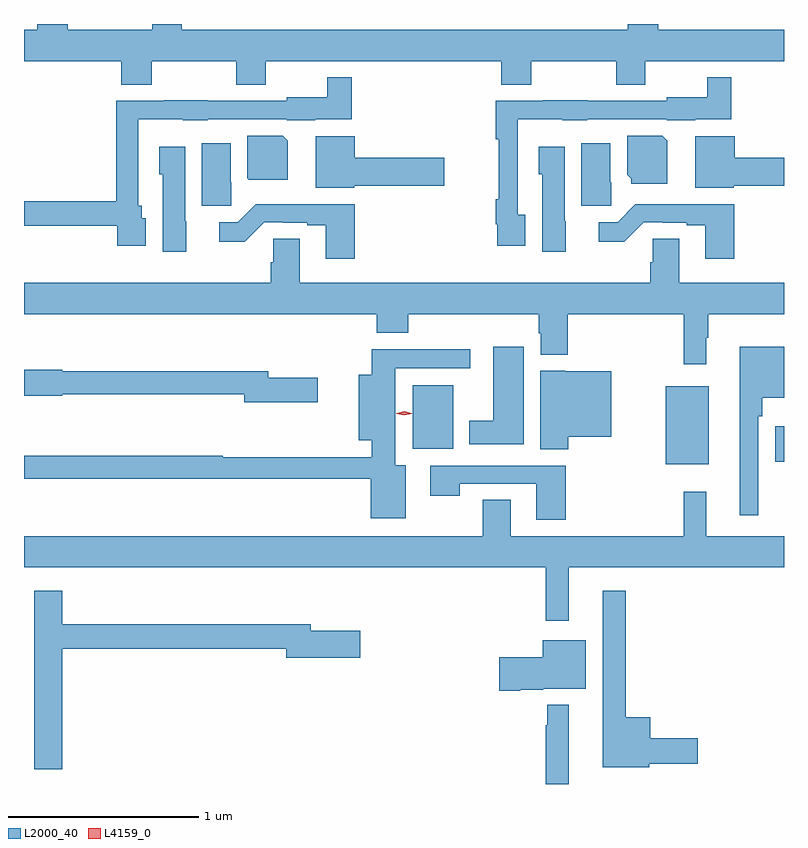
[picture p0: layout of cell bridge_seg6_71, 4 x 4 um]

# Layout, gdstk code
import gdstk
lib = gdstk.Library(unit=1e-6, precision=1e-09)
def R(c, l, rs):  # rectangles x0, y0, x1, y1
    for r in rs: c.add(gdstk.rectangle(r[:2], r[2:], *l))
def P(c, l, *ps):  # polygons
    for p in ps: c.add(gdstk.Polygon(p, *l))
L2000_40 = (2000, 40)
L4159_0 = (4159, 0)

bridge_seg6_71 = lib.new_cell('bridge_seg6_71')
R(bridge_seg6_71, L2000_40, [(828.68,947.879,828.907,948.289), (829.256,947.891,829.302,948.079), (827.348,947.96,827.56,948.295)])
P(bridge_seg6_71, L2000_40, [(825.975,950),(826.42,950),(826.42,949.876),(826.575,949.876),(826.575,950),(827.813,950),(827.813,949.876),(827.973,949.876),(827.973,950),(828.418,950),(828.418,949.876),(828.573,949.876),(828.573,950),(829.302,950),(829.302,950.164),(828.639,950.164),(828.639,950.195),(828.479,950.195),(828.479,950.164),(826.131,950.164),(826.131,950.195),(825.976,950.195),(825.976,950.164),(825.531,950.164),(825.531,950.195),(825.371,950.195),(825.371,950.164),(825.302,950.164),(825.302,950),(825.815,950),(825.815,949.876),(825.975,949.876)],
  [(825.943,949.173),(825.922,949.173),(825.922,949.239),(825.903,949.239),(825.903,949.694),(826.137,949.694),(826.137,949.688),(826.269,949.688),(826.269,949.695),(826.686,949.695),(826.686,949.688),(826.836,949.688),(826.836,949.694),(827.027,949.694),(827.027,949.915),(826.899,949.915),(826.899,949.81),(826.686,949.81),(826.686,949.791),(826.269,949.791),(826.269,949.793),(826.037,949.793),(826.037,949.791),(825.787,949.791),(825.787,949.262),(825.302,949.262),(825.302,949.134),(825.794,949.134),(825.794,949.029),(825.943,949.029)],
  [(827.941,949.19),(827.901,949.19),(827.901,949.694),(828.135,949.694),(828.135,949.688),(828.267,949.688),(828.267,949.695),(828.684,949.695),(828.684,949.688),(828.834,949.688),(828.834,949.694),(829.025,949.694),(829.025,949.915),(828.897,949.915),(828.897,949.81),(828.684,949.81),(828.684,949.791),(828.267,949.791),(828.267,949.793),(828.035,949.793),(828.035,949.791),(827.785,949.791),(827.785,949.588),(827.8,949.588),(827.8,949.273),(827.785,949.273),(827.785,949.141),(827.793,949.141),(827.793,949.029),(827.941,949.029)],
  [(828.688,949.58),(828.662,949.606),(828.476,949.606),(828.476,949.402),(828.498,949.38),(828.498,949.355),(828.688,949.355)],
  [(826.69,949.58),(826.664,949.606),(826.478,949.606),(826.478,949.384),(826.486,949.376),(826.69,949.376)],
  [(827.04,949.343),(827.515,949.343),(827.515,949.49),(827.044,949.49),(827.044,949.604),(826.838,949.604),(826.838,949.334),(827.04,949.334)],
  [(829.038,949.343),(829.302,949.343),(829.302,949.49),(829.042,949.49),(829.042,949.604),(828.836,949.604),(828.836,949.334),(829.038,949.334)],
  [(828.392,949.362),(828.388,949.362),(828.388,949.567),(828.236,949.567),(828.236,949.239),(828.392,949.239)],
  [(826.394,949.362),(826.39,949.362),(826.39,949.567),(826.238,949.567),(826.238,949.239),(826.394,949.239)],
  [(826.156,949.158),(826.15,949.158),(826.15,949.549),(826.013,949.549),(826.013,949.404),(826.031,949.404),(826.031,948.996),(826.156,948.996)],
  [(828.154,949.158),(828.148,949.158),(828.148,949.549),(828.011,949.549),(828.011,949.404),(828.029,949.404),(828.029,948.996),(828.154,948.996)],
  [(827.042,949.247),(826.523,949.247),(826.428,949.152),(826.329,949.152),(826.329,949.05),(826.464,949.05),(826.566,949.152),(826.666,949.152),(826.666,949.149),(826.793,949.149),(826.793,949.137),(826.889,949.137),(826.889,948.96),(827.042,948.96)],
  [(829.04,949.246),(828.52,949.246),(828.426,949.152),(828.327,949.152),(828.327,949.05),(828.462,949.05),(828.564,949.152),(828.664,949.152),(828.664,949.149),(828.791,949.149),(828.791,949.137),(828.887,949.137),(828.887,948.96),(829.04,948.96)],
  [(828.892,948.545),(828.904,948.545),(828.904,948.668),(829.302,948.668),(829.302,948.832),(828.751,948.832),(828.751,949.064),(828.612,949.064),(828.612,948.942),(828.599,948.942),(828.599,948.832),(826.753,948.832),(826.753,949.064),(826.614,949.064),(826.614,948.942),(826.601,948.942),(826.601,948.832),(825.302,948.832),(825.302,948.668),(827.159,948.668),(827.159,948.569),(827.324,948.569),(827.324,948.668),(828.011,948.668),(828.011,948.567),(828.023,948.567),(828.023,948.455),(828.164,948.455),(828.164,948.668),(828.775,948.668),(828.775,948.405),(828.892,948.405)],
  [(827.932,948.496),(827.771,948.496),(827.771,948.106),(827.645,948.106),(827.645,947.984),(827.932,947.984)],
  [(829.167,948.131),(829.187,948.131),(829.187,948.227),(829.302,948.227),(829.302,948.496),(829.07,948.496),(829.07,947.61),(829.167,947.61)],
  [(827.311,947.872),(827.257,947.872),(827.257,948.384),(827.65,948.384),(827.65,948.482),(827.132,948.482),(827.132,948.349),(827.063,948.349),(827.063,948.005),(827.132,948.005),(827.132,947.915),(826.348,947.915),(826.348,947.923),(825.302,947.923),(825.302,947.802),(827.126,947.802),(827.126,947.594),(827.311,947.594)],
  [(826.849,948.333),(826.588,948.333),(826.588,948.367),(825.504,948.367),(825.504,948.375),(825.302,948.375),(825.302,948.238),(825.504,948.238),(825.504,948.246),(826.46,948.246),(826.46,948.203),(826.849,948.203)],
  [(828.167,948.023),(828.394,948.023),(828.394,948.367),(828.15,948.367),(828.15,948.37),(828.02,948.37),(828.02,947.956),(828.167,947.956)],
  [(828.152,947.871),(827.439,947.871),(827.439,947.712),(827.595,947.712),(827.595,947.775),(827.999,947.775),(827.999,947.586),(828.152,947.586)],
  [(828.169,947.336),(829.302,947.336),(829.302,947.5),(828.893,947.5),(828.893,947.734),(828.775,947.734),(828.775,947.5),(827.863,947.5),(827.863,947.69),(827.716,947.69),(827.716,947.5),(825.302,947.5),(825.302,947.336),(828.048,947.336),(828.048,947.055),(828.169,947.055)],
  [(828.594,946.301),(828.847,946.301),(828.847,946.436),(828.598,946.436),(828.598,946.546),(828.469,946.546),(828.469,947.212),(828.347,947.212),(828.347,946.283),(828.594,946.283)],
  [(825.503,946.906),(826.682,946.906),(826.682,946.859),(827.071,946.859),(827.071,947.001),(826.81,947.001),(826.81,947.035),(825.503,947.035),(825.503,947.212),(825.356,947.212),(825.356,946.272),(825.503,946.272)],
  [(827.914,946.691),(828.036,946.691),(828.036,946.697),(828.259,946.697),(828.259,946.951),(828.032,946.951),(828.032,946.863),(827.802,946.863),(827.802,946.685),(827.914,946.685)],
  [(828.169,946.612),(828.055,946.612),(828.055,946.505),(828.048,946.505),(828.048,946.195),(828.169,946.195)])
P(bridge_seg6_71, L4159_0, [(827.303,948.136),(827.263,948.145),(827.262,948.146),(827.263,948.146),(827.303,948.156),(827.343,948.146),(827.343,948.146),(827.343,948.145)])

lib.write_gds('bridge_seg6_71.gds')
